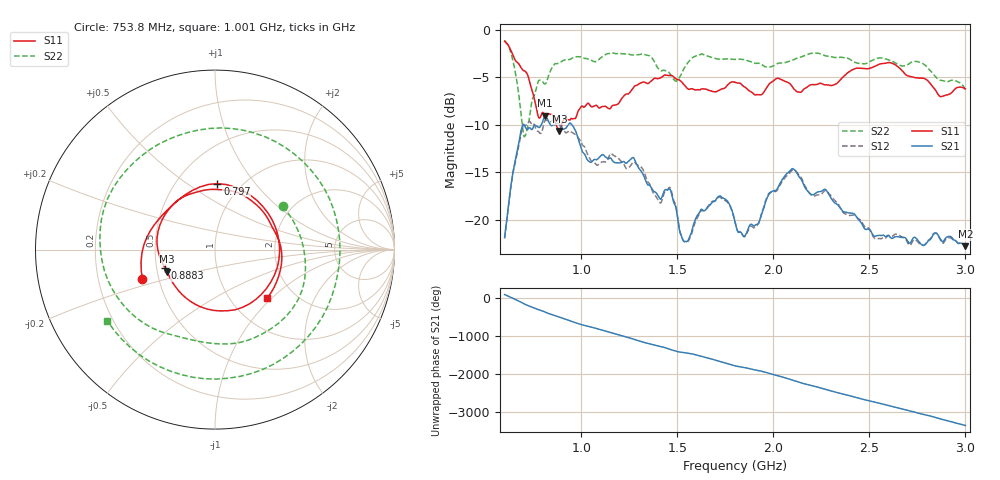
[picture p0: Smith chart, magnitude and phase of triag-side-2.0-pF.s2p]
#  HZ  S  RI  R  50.00
! Rohde & Schwarz ZVB8 2Ports - Version 2.81 - 1145.1010k08 SN: 100113
! Date: 2016-03-12 03:12:04
! Measurements: S11 S21 S12 S22
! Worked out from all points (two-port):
!   1000 points, 600 MHz to 3 GHz, reference 50 ohm
!   highest |S21| = -9.05 dB at 811.4 MHz (marker M1); lowest = -22.8 dB at 3 GHz (marker M2)
!   |S21| within 3 dB of the highest: 672.7 MHz to 992.9 MHz (320.2 MHz wide, 38.4 % of centre)
!   lowest |S11| = -10.7 dB at 885.9 MHz (marker M3), VSWR 1.83, Z = 28.2 - j7.55 ohm
!   |S11| at or under -10 dB: 868.2 MHz to 896.9 MHz (28.72 MHz wide, 3.25 % of centre)
!   |S22| runs from -11.2 to -1.1 dB; largest |S21 - S12| = 0.032
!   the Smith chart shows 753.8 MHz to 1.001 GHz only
!   S11 on the Smith chart (normalised r, x): 753.8 MHz: 0.40, -0.17; 797 MHz: 0.78, +0.66; 888.3 MHz: 0.56, -0.13; 1.001 GHz: 1.46, -0.94
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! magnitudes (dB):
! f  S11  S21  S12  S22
! 600 MHz  -1.2  -21.8  -21.9  -1.1
! 645.6 MHz  -2.8  -14.7  -14.9  -3.5
! 703.3 MHz  -4.3  -10.1  -10.0  -11.2
! 753.8 MHz  -7.2  -10.1  -9.9  -6.9
! 797 MHz  -8.7  -9.7  -10.6  -5.4
! 811.4 MHz  -8.9  -9.1  -9.5  -5.7
! 885.9 MHz  -10.7  -10.0  -9.5  -3.5
! 888.3 MHz  -10.6  -10.0  -9.6  -3.4
! 1.001 GHz  -8.0  -12.6  -12.0  -2.9
! 1.078 GHz  -7.9  -13.7  -14.2  -3.3
! 1.27 GHz  -6.1  -13.4  -13.9  -2.7
! 1.4 GHz  -5.1  -17.5  -17.9  -4.1
! 1.462 GHz  -4.8  -16.8  -16.6  -4.7
! 1.539 GHz  -5.9  -22.3  -22.3  -3.9
! 1.717 GHz  -6.4  -17.5  -17.6  -3.1
! 1.801 GHz  -5.5  -20.3  -20.3  -3.1
! 1.909 GHz  -6.8  -20.5  -20.6  -3.5
! 2.097 GHz  -5.9  -14.6  -14.8  -3.2
! 2.2 GHz  -5.8  -17.3  -17.4  -2.5
! 2.601 GHz  -3.4  -21.7  -21.6  -3.2
! 2.87 GHz  -7.0  -22.0  -22.1  -5.3
! 3 GHz  -6.2  -22.8  -22.7  -6.3
